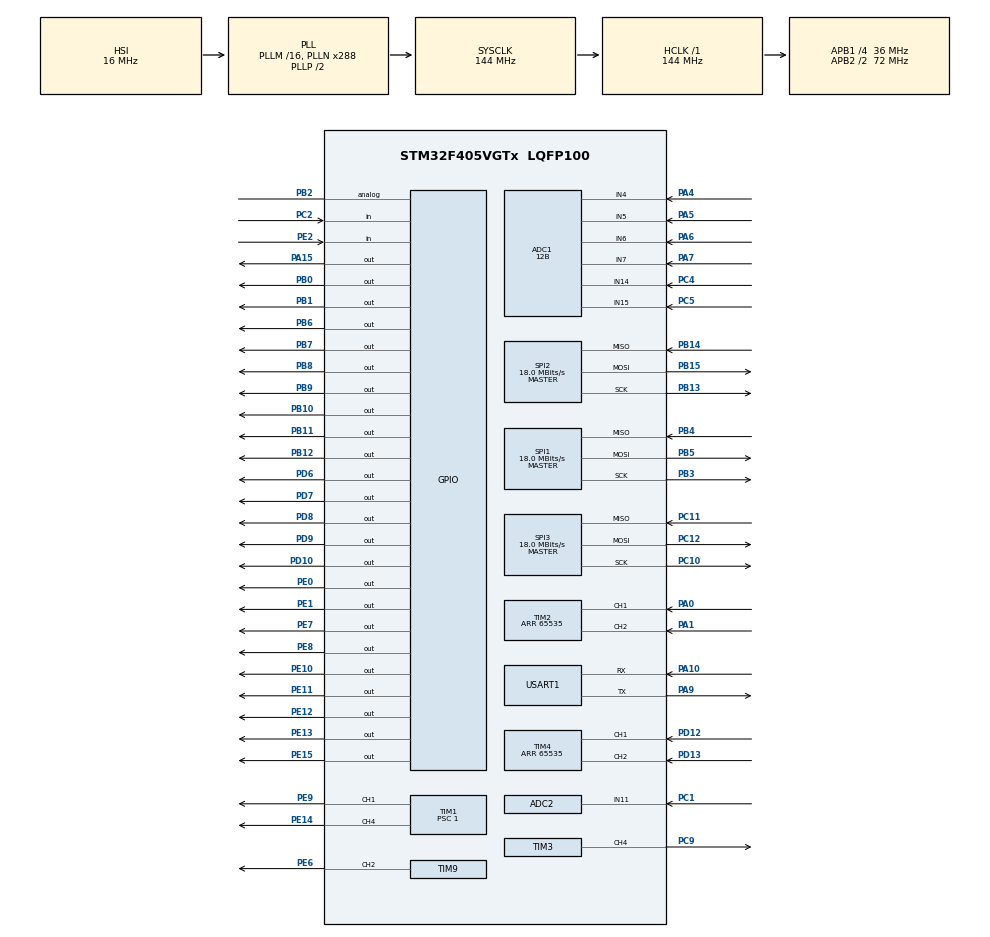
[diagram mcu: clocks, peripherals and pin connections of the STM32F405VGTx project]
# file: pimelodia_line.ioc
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ADC1.Channel-229\#ChannelRegularConversion=ADC_CHANNEL_4
ADC1.Channel-230\#ChannelRegularConversion=ADC_CHANNEL_5
ADC1.Channel-231\#ChannelRegularConversion=ADC_CHANNEL_4
ADC1.Channel-232\#ChannelRegularConversion=ADC_CHANNEL_4
ADC1.Channel-233\#ChannelRegularConversion=ADC_CHANNEL_4
ADC1.Channel-234\#ChannelRegularConversion=ADC_CHANNEL_4
ADC1.ClockPrescaler=ADC_CLOCK_SYNC_PCLK_DIV8
ADC1.ContinuousConvMode=DISABLE
ADC1.DMAContinuousRequests=DISABLE
ADC1.DataAlign=ADC_DATAALIGN_RIGHT
ADC1.DiscontinuousConvMode=DISABLE
ADC1.EOCSelection=ADC_EOC_SEQ_CONV
ADC1.EnableAnalogWatchDog=false
ADC1.ExternalTrigConv=ADC_SOFTWARE_START
ADC1.ExternalTrigConvEdge=ADC_EXTERNALTRIGCONVEDGE_NONE
ADC1.InjNumberOfConversion=0
ADC1.NbrOfConversion=1
ADC1.NbrOfConversionFlag=1
ADC1.Rank-229\#ChannelRegularConversion=1
ADC1.Rank-230\#ChannelRegularConversion=2
ADC1.Rank-231\#ChannelRegularConversion=3
ADC1.Rank-232\#ChannelRegularConversion=4
ADC1.Rank-233\#ChannelRegularConversion=5
ADC1.Rank-234\#ChannelRegularConversion=6
ADC1.Resolution=ADC_RESOLUTION_12B
ADC1.SamplingTime-229\#ChannelRegularConversion=ADC_SAMPLETIME_3CYCLES
ADC1.SamplingTime-230\#ChannelRegularConversion=ADC_SAMPLETIME_3CYCLES
ADC1.SamplingTime-231\#ChannelRegularConversion=ADC_SAMPLETIME_3CYCLES
ADC1.SamplingTime-232\#ChannelRegularConversion=ADC_SAMPLETIME_3CYCLES
ADC1.SamplingTime-233\#ChannelRegularConversion=ADC_SAMPLETIME_3CYCLES
ADC1.SamplingTime-234\#ChannelRegularConversion=ADC_SAMPLETIME_3CYCLES
ADC1.ScanConvMode=ENABLE
ADC1.master=1
ADC2.Channel-0\#ChannelRegularConversion=ADC_CHANNEL_11
ADC2.ClockPrescaler=ADC_CLOCK_SYNC_PCLK_DIV8
ADC2.ContinuousConvMode=DISABLE
ADC2.DMAContinuousRequests=DISABLE
ADC2.DataAlign=ADC_DATAALIGN_RIGHT
ADC2.DiscontinuousConvMode=DISABLE
ADC2.EOCSelection=ADC_EOC_SINGLE_CONV
ADC2.EnableAnalogWatchDog=false
ADC2.ExternalTrigConv=ADC_SOFTWARE_START
ADC2.ExternalTrigConvEdge=ADC_EXTERNALTRIGCONVEDGE_NONE
ADC2.InjNumberOfConversion=0
ADC2.NbrOfConversion=1
ADC2.NbrOfConversionFlag=1
ADC2.Rank-0\#ChannelRegularConversion=1
ADC2.Resolution=ADC_RESOLUTION_12B
ADC2.SamplingTime-0\#ChannelRegularConversion=ADC_SAMPLETIME_3CYCLES
ADC2.ScanConvMode=DISABLE
Dma.ADC1.0.Direction=DMA_PERIPH_TO_MEMORY
Dma.ADC1.0.FIFOMode=DMA_FIFOMODE_DISABLE
Dma.ADC1.0.Instance=DMA2_Stream0
Dma.ADC1.0.MemDataAlignment=DMA_MDATAALIGN_HALFWORD
Dma.ADC1.0.MemInc=DMA_MINC_ENABLE
Dma.ADC1.0.Mode=DMA_NORMAL
Dma.ADC1.0.PeriphDataAlignment=DMA_PDATAALIGN_HALFWORD
Dma.ADC1.0.PeriphInc=DMA_PINC_DISABLE
Dma.ADC1.0.Priority=DMA_PRIORITY_HIGH
Dma.Request0=ADC1
Mcu.Family=STM32F4
Mcu.Name=STM32F405VGTx
Mcu.Package=LQFP100
NVIC.ADC_IRQn=true\:0\:0\:false\:false\:true
NVIC.DMA2_Stream0_IRQn=true\:0\:0\:false\:false\:true
NVIC.PriorityGroup=NVIC_PRIORITYGROUP_4
NVIC.SPI1_IRQn=true\:0\:0\:false\:false\:true
NVIC.SPI2_IRQn=true\:0\:0\:false\:false\:true
NVIC.SPI3_IRQn=true\:0\:0\:false\:false\:true
NVIC.TIM2_IRQn=true\:0\:0\:false\:false\:true
NVIC.TIM4_IRQn=true\:0\:0\:false\:false\:true
NVIC.TIM5_IRQn=true\:0\:0\:false\:false\:true
NVIC.TIM6_DAC_IRQn=true\:0\:0\:false\:false\:true
NVIC.TIM7_IRQn=true\:0\:0\:false\:false\:true
PA0-WKUP.Signal=S_TIM2_CH1_ETR
PA1.Signal=S_TIM2_CH2
PA10.Mode=Asynchronous
PA10.Signal=USART1_RX
PA15.Signal=GPIO_Output
PA4.Signal=ADCx_IN4
PA5.Signal=ADCx_IN5
PA6.Signal=ADCx_IN6
PA7.Signal=ADCx_IN7
PA9.Mode=Asynchronous
PA9.Signal=USART1_TX
PB0.Signal=GPIO_Output
PB1.Signal=GPIO_Output
PB10.Signal=GPIO_Output
PB11.Signal=GPIO_Output
PB12.Signal=GPIO_Output
PB13.Mode=Full_Duplex_Master
PB13.Signal=SPI2_SCK
PB14.Mode=Full_Duplex_Master
PB14.Signal=SPI2_MISO
PB15.Mode=Full_Duplex_Master
PB15.Signal=SPI2_MOSI
PB2.Signal=GPIO_Analog
PB3.Mode=Full_Duplex_Master
PB3.Signal=SPI1_SCK
PB4.Mode=Full_Duplex_Master
PB4.Signal=SPI1_MISO
PB5.Mode=Full_Duplex_Master
PB5.Signal=SPI1_MOSI
PB6.Signal=GPIO_Output
PB7.Signal=GPIO_Output
PB8.Signal=GPIO_Output
PB9.Signal=GPIO_Output
PC1.Signal=ADCx_IN11
PC10.Mode=Full_Duplex_Master
PC10.Signal=SPI3_SCK
PC11.Mode=Full_Duplex_Master
PC11.Signal=SPI3_MISO
PC12.Mode=Full_Duplex_Master
PC12.Signal=SPI3_MOSI
PC2.GPIO_PuPd=GPIO_PULLDOWN
PC2.Signal=GPIO_Input
PC4.Signal=ADCx_IN14
PC5.Signal=ADCx_IN15
PC9.Signal=S_TIM3_CH4
PD10.Signal=GPIO_Output
PD12.Signal=S_TIM4_CH1
PD13.Signal=S_TIM4_CH2
PD6.Signal=GPIO_Output
PD7.Signal=GPIO_Output
PD8.Signal=GPIO_Output
PD9.Signal=GPIO_Output
PE0.Signal=GPIO_Output
PE1.Signal=GPIO_Output
PE10.Signal=GPIO_Output
PE11.Signal=GPIO_Output
PE12.Signal=GPIO_Output
PE13.Signal=GPIO_Output
PE14.Signal=S_TIM1_CH4
PE15.Signal=GPIO_Output
PE2.GPIO_PuPd=GPIO_PULLDOWN
PE2.Signal=GPIO_Input
PE6.Signal=S_TIM9_CH2
PE7.Signal=GPIO_Output
PE8.Signal=GPIO_Output
PE9.Signal=S_TIM1_CH1
ProjectManager.HeapSize=0x400
ProjectManager.StackSize=0x200
ProjectManager.TargetToolchain=Makefile
RCC.48MHZClocksFreq_Value=72000000
RCC.AHBFreq_Value=144000000
RCC.APB1CLKDivider=RCC_HCLK_DIV4
RCC.APB1Freq_Value=36000000
RCC.APB1TimFreq_Value=72000000
RCC.APB2CLKDivider=RCC_HCLK_DIV2
RCC.APB2Freq_Value=72000000
RCC.APB2TimFreq_Value=144000000
RCC.CortexFreq_Value=144000000
RCC.HCLKFreq_Value=144000000
RCC.HSE_VALUE=25000000
RCC.HSI_VALUE=16000000
RCC.LSE_VALUE=32768
RCC.PLLN=288
RCC.SYSCLKFreq_VALUE=144000000
RCC.SYSCLKSource=RCC_SYSCLKSOURCE_PLLCLK
RCC.VCOOutputFreq_Value=288000000
SH.ADCx_IN11.0=ADC2_IN11,IN11
SH.ADCx_IN14.0=ADC1_IN14,IN14
SH.ADCx_IN15.0=ADC1_IN15,IN15
SH.ADCx_IN4.0=ADC1_IN4,IN4
SH.ADCx_IN5.0=ADC1_IN5,IN5
SH.ADCx_IN6.0=ADC1_IN6,IN6
SH.ADCx_IN7.0=ADC1_IN7,IN7
SH.S_TIM1_CH1.0=TIM1_CH1,PWM Generation1 CH1
SH.S_TIM1_CH4.0=TIM1_CH4,PWM Generation4 CH4
SH.S_TIM2_CH1_ETR.0=TIM2_CH1,Encoder_Interface
SH.S_TIM2_CH2.0=TIM2_CH2,Encoder_Interface
SH.S_TIM3_CH4.0=TIM3_CH4,PWM Generation4 CH4
SH.S_TIM4_CH1.0=TIM4_CH1,Encoder_Interface
SH.S_TIM4_CH2.0=TIM4_CH2,Encoder_Interface
SH.S_TIM9_CH2.0=TIM9_CH2,PWM Generation2 CH2
SPI1.BaudRatePrescaler=SPI_BAUDRATEPRESCALER_4
SPI1.CLKPhase=SPI_PHASE_2EDGE
SPI1.CLKPolarity=SPI_POLARITY_HIGH
SPI1.CalculateBaudRate=18.0 MBits/s
SPI1.Direction=SPI_DIRECTION_2LINES
SPI1.Mode=SPI_MODE_MASTER
SPI1.VirtualType=VM_MASTER
SPI2.BaudRatePrescaler=SPI_BAUDRATEPRESCALER_2
SPI2.CLKPhase=SPI_PHASE_2EDGE
SPI2.CLKPolarity=SPI_POLARITY_HIGH
SPI2.CalculateBaudRate=18.0 MBits/s
SPI2.Direction=SPI_DIRECTION_2LINES
SPI2.Mode=SPI_MODE_MASTER
SPI2.VirtualType=VM_MASTER
SPI3.BaudRatePrescaler=SPI_BAUDRATEPRESCALER_2
SPI3.CLKPhase=SPI_PHASE_2EDGE
SPI3.CLKPolarity=SPI_POLARITY_HIGH
SPI3.CalculateBaudRate=18.0 MBits/s
SPI3.Direction=SPI_DIRECTION_2LINES
SPI3.Mode=SPI_MODE_MASTER
SPI3.VirtualType=VM_MASTER
TIM1.Channel-PWM\ Generation1\ CH1=TIM_CHANNEL_1
TIM1.Channel-PWM\ Generation4\ CH4=TIM_CHANNEL_4
TIM1.Period=500
TIM1.Prescaler=1
TIM2.ClockDivision=TIM_CLOCKDIVISION_DIV1
TIM2.EncoderMode=TIM_ENCODERMODE_TI12
TIM2.IC1Filter=5
TIM2.IC2Filter=5
TIM2.Period=65535
TIM3.Channel-PWM\ Generation4\ CH4=TIM_CHANNEL_4
TIM3.Period=100
TIM3.Prescaler=10
TIM4.EncoderMode=TIM_ENCODERMODE_TI12
TIM4.IC1Filter=5
TIM4.IC2Filter=5
TIM4.Period=65535
TIM5.Period=1
TIM5.Prescaler=3600
TIM6.Period=1
TIM6.Prescaler=36000
TIM7.Period=1
TIM7.Prescaler=36000
TIM9.Channel-PWM\ Generation2\ CH2=TIM_CHANNEL_2
TIM9.Period=100
TIM9.Prescaler=120
USART1.VirtualMode=VM_ASYNC
VP_TIM5_VS_ClockSourceINT.Mode=Internal
VP_TIM6_VS_ClockSourceINT.Mode=Enable_Timer
VP_TIM7_VS_ClockSourceINT.Mode=Enable_Timer
board=pimelodia_line

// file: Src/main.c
/**
  ******************************************************************************
  * File Name          : main.c
  * Description        : Main program body
  ******************************************************************************
  ** This notice applies to any and all portions of this file
  * that are not between comment pairs USER CODE BEGIN and
  * USER CODE END. Other portions of this file, whether
  * inserted by the user or by software development tools
  * are owned by their respective copyright owners.
  *
  * COPYRIGHT(c) 2017 STMicroelectronics
  *
  * Redistribution and use in source and binary forms, with or without modification,
  * are permitted provided that the following conditions are met:
  *   1. Redistributions of source code must retain the above copyright notice,
  *      this list of conditions and the following disclaimer.
  *   2. Redistributions in binary form must reproduce the above copyright notice,
  *      this list of conditions and the following disclaimer in the documentation
  *      and/or other materials provided with the distribution.
  *   3. Neither the name of STMicroelectronics nor the names of its contributors
  *      may be used to endorse or promote products derived from this software
  *      without specific prior written permission.
  *
  * THIS SOFTWARE IS PROVIDED BY THE COPYRIGHT HOLDERS AND CONTRIBUTORS "AS IS"
  * AND ANY EXPRESS OR IMPLIED WARRANTIES, INCLUDING, BUT NOT LIMITED TO, THE
  * IMPLIED WARRANTIES OF MERCHANTABILITY AND FITNESS FOR A PARTICULAR PURPOSE ARE
  * DISCLAIMED. IN NO EVENT SHALL THE COPYRIGHT HOLDER OR CONTRIBUTORS BE LIABLE
  * FOR ANY DIRECT, INDIRECT, INCIDENTAL, SPECIAL, EXEMPLARY, OR CONSEQUENTIAL
  * DAMAGES (INCLUDING, BUT NOT LIMITED TO, PROCUREMENT OF SUBSTITUTE GOODS OR
  * SERVICES; LOSS OF USE, DATA, OR PROFITS; OR BUSINESS INTERRUPTION) HOWEVER
  * CAUSED AND ON ANY THEORY OF LIABILITY, WHETHER IN CONTRACT, STRICT LIABILITY,
  * OR TORT (INCLUDING NEGLIGENCE OR OTHERWISE) ARISING IN ANY WAY OUT OF THE USE
  * OF THIS SOFTWARE, EVEN IF ADVISED OF THE POSSIBILITY OF SUCH DAMAGE.
  *
  ******************************************************************************
  */
#include "main.h"
#include "stm32f4xx_hal.h"
#include "adc.h"
#include "dma.h"
#include "spi.h"
#include "tim.h"
#include "usart.h"
#include "gpio.h"

/* USER CODE BEGIN Includes */
#include "moter.h"
#include "robot.h"
#include "parameter.h"
#include "macro.h"
#include "machine_state.h"
#include "misc.h"
#include "mpu6500.h"
/* USER CODE END Includes */

/* USER CODE BEGIN PV */
/* Private variables ---------------------------------------------------------*/

/* USER CODE END PV */

void SystemClock_Config(void);

/* USER CODE BEGIN PFP */
/* Private function prototypes -----------------------------------------------*/

/* USER CODE END PFP */

/* USER CODE BEGIN 0 */
uint8_t uart_getc(void);
void uart_putc(uint8_t c);
void uart_puts(char *str);
#ifdef __GNUC__
#define PUTCHAR_PROTOTYPE int __io_putchar(int ch)
#else
#define PUTCHAR_PROTOTYPE int fputc(int ch, FILE *f)
#endif /* __GNUC__ */
void __io_putchar(uint8_t ch) {
HAL_UART_Transmit(&huart1, &ch, 1, 1);
}
/* USER CODE END 0 */

int main(void)
{

  /* USER CODE BEGIN 1 */
  int musiccount[14] = {1532, 1362, 1213, 1145, 1020, 909, 809, 764, 681, 607, 572, 510, 454, 404};
  setbuf(stdout, NULL);
  /* USER CODE END 1 */

  /* MCU Configuration----------------------------------------------------------*/

  /* Reset of all peripherals, Initializes the Flash interface and the Systick. */
  HAL_Init();

  /* Configure the system clock */
  SystemClock_Config();

  /* Initialize all configured peripherals */
  MX_GPIO_Init();
  MX_DMA_Init();
  MX_SPI1_Init();
  MX_SPI3_Init();
  MX_ADC1_Init();
  MX_TIM2_Init();
  MX_TIM4_Init();
  MX_TIM1_Init();
  MX_ADC2_Init();
  MX_SPI2_Init();
  MX_TIM9_Init();
  MX_TIM3_Init();
  MX_TIM5_Init();
  MX_TIM6_Init();
  MX_TIM7_Init();
  MX_USART1_UART_Init();

  /* USER CODE BEGIN 2 */
  if(DWT_Delay_Init()){
    Error_Handler(); /* Call Error Handler */
  }
  RGB_RED_SET();
  RGB_BLUE_SET();
  RGB_GREEN_SET();
  RGB_RED_RESET();
  //RGB_BLUE_RESET();
  //RGB_GREEN_RESET();
  music(5, musiccount[2], 1000, 1);
  //MPU6500_init();
  //MPU6500_calib_offset();
  //uint8_t device_id;
  //spi_read_reg(&MPU6500_SPI, MPU6500_RA_WHO_AM_I, &device_id, 1);

  //HAL_TIM_Encoder_Start(&ENCODER_L_TIM,TIM_CHANNEL_1);
  //HAL_TIM_Encoder_Start(&ENCODER_L_TIM,TIM_CHANNEL_2);
  //HAL_TIM_Encoder_Start(&ENCODER_R_TIM,TIM_CHANNEL_1);
  //HAL_TIM_Encoder_Start(&ENCODER_R_TIM,TIM_CHANNEL_2);

  //HAL_TIM_Base_Start_IT(&htim5);
  //HAL_TIM_Base_Start_IT(&htim7);
  //HAL_TIM_Base_Start_IT(&htim6);
  music(5, musiccount[4], 1000, 1);
  music(0, 0, 0, 0);
  /* USER CODE END 2 */

  /* Infinite loop */
  while (1){

  /* USER CODE BEGIN 3 */
    RGB_RED_SET();
    RGB_BLUE_SET();
    RGB_GREEN_SET();
    //RGB_RED_RESET();
    //RGB_BLUE_RESET();
    uint32_t start_time = DWT_Get_Cycle();
    DWT_Delay_us(10000000);
    uint32_t stop_time = DWT_Get_Cycle();
    printf("Hello Pimelodia var:%0.1f %f\r\n", 1.5, get_process_time(start_time, stop_time));
    RGB_GREEN_RESET();
  }
  /* USER CODE END 3 */

}

/** System Clock Configuration
*/
void SystemClock_Config(void)
{

  RCC_OscInitTypeDef RCC_OscInitStruct;
  RCC_ClkInitTypeDef RCC_ClkInitStruct;

    /**Configure the main internal regulator output voltage
    */
  __HAL_RCC_PWR_CLK_ENABLE();

  __HAL_PWR_VOLTAGESCALING_CONFIG(PWR_REGULATOR_VOLTAGE_SCALE1);

    /**Initializes the CPU, AHB and APB busses clocks
    */
  RCC_OscInitStruct.OscillatorType = RCC_OSCILLATORTYPE_HSI;
  RCC_OscInitStruct.HSIState = RCC_HSI_ON;
  RCC_OscInitStruct.HSICalibrationValue = 16;
  RCC_OscInitStruct.PLL.PLLState = RCC_PLL_ON;
  RCC_OscInitStruct.PLL.PLLSource = RCC_PLLSOURCE_HSI;
  RCC_OscInitStruct.PLL.PLLM = 16;
  RCC_OscInitStruct.PLL.PLLN = 288;
  RCC_OscInitStruct.PLL.PLLP = RCC_PLLP_DIV2;
  RCC_OscInitStruct.PLL.PLLQ = 4;
  if (HAL_RCC_OscConfig(&RCC_OscInitStruct) != HAL_OK)
  {
    _Error_Handler(__FILE__, __LINE__);
  }

    /**Initializes the CPU, AHB and APB busses clocks
    */
  RCC_ClkInitStruct.ClockType = RCC_CLOCKTYPE_HCLK|RCC_CLOCKTYPE_SYSCLK
                              |RCC_CLOCKTYPE_PCLK1|RCC_CLOCKTYPE_PCLK2;
  RCC_ClkInitStruct.SYSCLKSource = RCC_SYSCLKSOURCE_PLLCLK;
  RCC_ClkInitStruct.AHBCLKDivider = RCC_SYSCLK_DIV1;
  RCC_ClkInitStruct.APB1CLKDivider = RCC_HCLK_DIV4;
  RCC_ClkInitStruct.APB2CLKDivider = RCC_HCLK_DIV2;

  if (HAL_RCC_ClockConfig(&RCC_ClkInitStruct, FLASH_LATENCY_4) != HAL_OK)
  {
    _Error_Handler(__FILE__, __LINE__);
  }

    /**Configure the Systick interrupt time
    */
  HAL_SYSTICK_Config(HAL_RCC_GetHCLKFreq()/1000);

    /**Configure the Systick
    */
  HAL_SYSTICK_CLKSourceConfig(SYSTICK_CLKSOURCE_HCLK);

  /* SysTick_IRQn interrupt configuration */
  HAL_NVIC_SetPriority(SysTick_IRQn, 0, 0);
}

void _Error_Handler(char * file, int line)
{
  /* USER CODE BEGIN Error_Handler_Debug */
  /* User can add his own implementation to report the HAL error return state */
  while(1)
  {
    printf("Error!\n\r");
  }
  /* USER CODE END Error_Handler_Debug */
}

/************************ (C) COPYRIGHT STMicroelectronics *****END OF FILE****/
